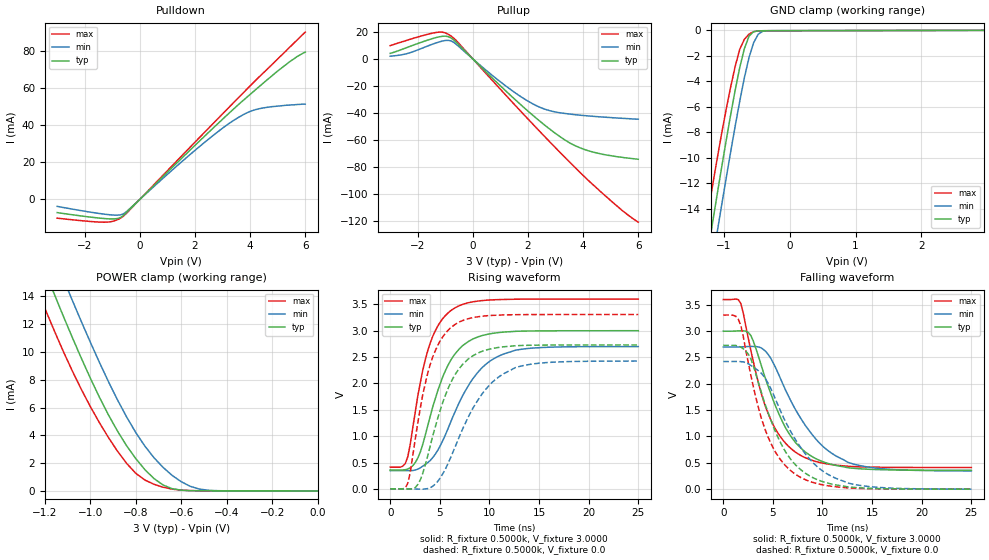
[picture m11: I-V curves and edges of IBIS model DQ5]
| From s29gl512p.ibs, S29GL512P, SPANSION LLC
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|   Model DQ5
[Model]  DQ5
Model_type I/O
Vinl =   0.9000V
Vinh =   2.1000V
Vmeas =  1.5000V
Cref =   30.0000pF
C_comp   2.0000pF   2.0000pF   2.0000pF
[Temperature Range]   25.0000   85.0000   -40.0000
[Pullup Reference]   3.0000V   2.7000V   3.6000V
[Pulldown Reference]   0.0V   0.0V   0.0V
[POWER Clamp Reference]   3.0000V   2.7000V   3.6000V
[GND Clamp Reference]   0.0V   0.0V   0.0V
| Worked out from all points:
|   slope of the pulldown table from 0 to 0.45 V, typ, clamps not added: 67.8 ohm
|   slope of the pullup table from 0 to 0.45 V, typ, clamps not added: 49.6 ohm
|   GND clamp passes 1 mA (typ) near -0.66 V on its own axis
|   POWER clamp passes 1 mA (typ) near -0.73 V on its own axis
|   rising waveform, R_fixture 0.5000k, V_fixture 3.0000: 20-80 % time 2.87ns typ, 3.88ns min, 2.27ns max; typ from 0.359 V to 3 V
|   rising waveform, R_fixture 0.5000k, V_fixture 0.0: 20-80 % time 2.94ns typ, 4.03ns min, 2.31ns max; typ from 0.001 V to 2.73 V
|   falling waveform, R_fixture 0.5000k, V_fixture 3.0000: 20-80 % time 3.65ns typ, 4.56ns min, 3.15ns max; typ from 3 V to 0.358 V
|   falling waveform, R_fixture 0.5000k, V_fixture 0.0: 20-80 % time 3.61ns typ, 4.42ns min, 3.14ns max; typ from 2.73 V to 0 V
[Pulldown]
|Voltage   I(typ)   I(min)   I(max)
-3V       -7.16mA    -3.81mA    -10.17mA
-1.8V     -9.59mA    -6.92mA    -11.96mA
-1.2V     -10.48mA   -8.18mA    -12.32mA
-800mV    -10.33mA   -8.54mA    -10.91mA
-600mV    -8.761mA   -7.873mA   -9.136mA
2.1V      30.58mA    27.72mA    32.42mA
3V        43.27mA    38.44mA    46.15mA
3.6V      51.52mA    44.45mA    55.25mA
4V        56.66mA    47.47mA    61.28mA
4.4V      61.81mA    49.16mA    67.17mA
5.4V      73.94mA    50.87mA    81.67mA
6V        79.55mA    51.4mA     90.34mA
[Pullup]
|Voltage   I(typ)   I(min)   I(max)
-3V       4.15mA     2.06mA     9.9mA
-2.3V     9.18mA     4.51mA     14.42mA
-1.3V     16.01mA    12.11mA    19.7mA
-1V       16.88mA    13.67mA    19.27mA
-800mV    15.61mA    13.43mA    17.05mA
1.2V      -23.75mA   -20.05mA   -26.87mA
2.4V      -45.49mA   -35.42mA   -52.99mA
3.3V      -59.32mA   -40.17mA   -71.9mA
3.9V      -65.75mA   -41.56mA   -84.09mA
4.5V      -69.5mA    -42.59mA   -95.53mA
5.4V      -72.61mA   -43.82mA   -111.7mA
6V        -74.09mA   -44.47mA   -120.6mA
[GND_clamp]
|Voltage   I(typ)   I(min)   I(max)
-3V       -75.91mA   -77.94mA   -73.24mA
-1.32V    -19.81mA   -22.7mA    -16.79mA
-1.25V    -17.54mA   -20.46mA   -14.56mA
-1.18V    -15.29mA   -18.24mA   -12.37mA
-1.11V    -13.07mA   -16.03mA   -10.25mA
-1.04V    -10.88mA   -13.85mA   -8.207mA
-830mV    -4.682mA   -7.509mA   -2.817mA
-690mV    -1.423mA   -3.706mA   -695.1uA
-550mV    -95.98uA   -970uA     -93.27uA
-480mV    -32.5uA    -297.3uA   -34.91uA
-340mV    -18.5uA    -22.15uA   -21.13uA
2.95V     9.466uA    11.01uA    6.466uA
[POWER_clamp]
|Voltage   I(typ)   I(min)   I(max)
-3V       95.85mA    96.99mA    93.9mA
-1.24V    17.5mA     20.17mA    14.76mA
-1.2V     15.86mA    18.54mA    13.16mA
-1.16V    14.24mA    16.92mA    11.6mA
-1.08V    11.09mA    13.76mA    8.677mA
-960mV    6.758mA    9.265mA    4.925mA
-840mV    3.256mA    5.324mA    1.987mA
-720mV    900.8uA    2.401mA    486.7uA
-640mV    170uA      1.127mA    139uA
-560mV    29.4uA     337.9uA    32.8uA
-480mV    15.26uA    54.71uA    17.13uA
0V        9.881uA    8.893uA    11.86uA
[Ramp]
| variable   typ   min   max
dV/dt_r  1.6375/2.9051n   1.4539/3.9866n   1.9836/2.2775n
dV/dt_f  1.5846/3.6222n   1.4116/4.5144n   1.9129/3.1134n
R_load = 0.5000k
[Rising Waveform]
R_fixture= 0.5000k
V_fixture= 3.0000
V_fixture_min= 2.7000
V_fixture_max= 3.6000
|time   V(typ)   V(min)   V(max)
0s        358.6mV    345.8mV    411.7mV
1.52ns    363.2mV    345.4mV    479.8mV
2.53ns    500.2mV    358.6mV    1.466V
3.28ns    846mV      431.4mV    2.252V
4.04ns    1.383V     539.7mV    2.772V
5.3ns     2.129V     918.1mV    3.231V
6.31ns    2.503V     1.367V     3.408V
8.84ns    2.883V     2.213V     3.562V
11.36ns   2.972V     2.553V     3.592V
25ns      3V         2.699V     3.6V
[Rising Waveform]
R_fixture= 0.5000k
V_fixture= 0.0
V_fixture_min= 0.0
V_fixture_max= 0.0
|time   V(typ)   V(min)   V(max)
0s        891.1uV    857.6uV    1.024mV
1.77ns    -3.457mV   159.2uV    104.7mV
2.78ns    83.86mV    -3.762mV   1.253V
3.54ns    462.2mV    -760.4uV   2.005V
4.29ns    1.009V     50.84mV    2.506V
5.3ns     1.644V     287.5mV    2.884V
6.57ns    2.176V     808.1mV    3.123V
9.34ns    2.615V     1.821V     3.276V
12.63ns   2.715V     2.301V     3.304V
25ns      2.73V      2.424V     3.307V
[Falling Waveform]
R_fixture= 0.5000k
V_fixture= 3.0000
V_fixture_min= 2.7000
V_fixture_max= 3.6000
|time   V(typ)   V(min)   V(max)
0s        2.999V     2.699V     3.599V
1.77ns    3.007V     2.702V     3.524V
2.78ns    2.916V     2.71V      2.632V
3.79ns    2.374V     2.685V     1.845V
4.8ns     1.809V     2.481V     1.313V
6.06ns    1.245V     1.972V     919.8mV
7.32ns    877.5mV    1.496V     697.3mV
9.85ns    534.9mV    847.5mV    501.5mV
12.63ns   406.1mV    504.7mV    433.7mV
25ns      358mV      346.3mV    410.9mV
[Falling Waveform]
R_fixture= 0.5000k
V_fixture= 0.0
V_fixture_min= 0.0
V_fixture_max= 0.0
|time   V(typ)   V(min)   V(max)
0s        2.73V      2.423V     3.306V
1.52ns    2.716V     2.424V     3.224V
2.53ns    2.562V     2.38V      2.393V
3.54ns    2.023V     2.25V      1.551V
4.55ns    1.438V     2.002V     975.5mV
6.06ns    779.3mV    1.364V     491.4mV
7.32ns    453.5mV    927.4mV    276.5mV
9.6ns     171.6mV    406.8mV    99.33mV
12.63ns   42.29mV    113mV      22.85mV
25ns      219uV      846.6uV    91.84uV
